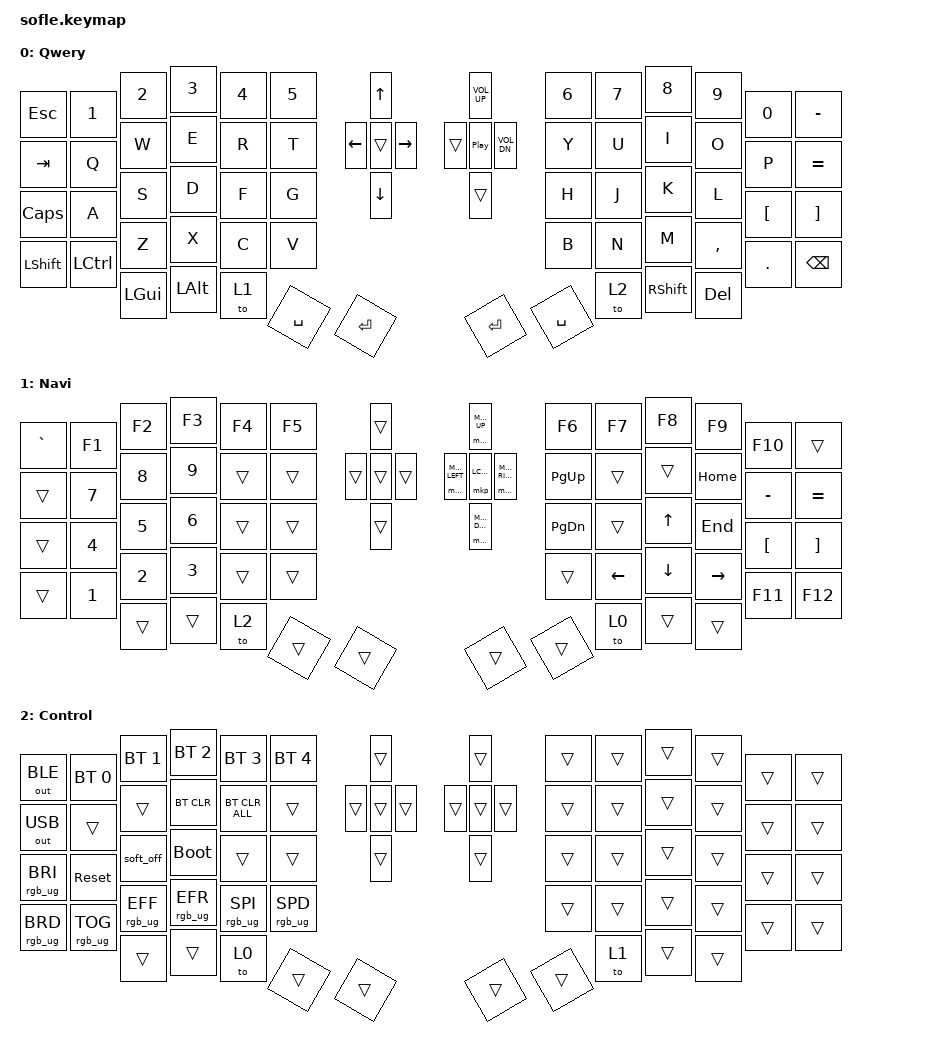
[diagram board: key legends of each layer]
#define ZMK_POINTING_DEFAULT_MOVE_VAL 1200  // 600
#define ZMK_POINTING_DEFAULT_SCRL_VAL 25   // 10

#include <input/processors.dtsi>
#include <zephyr/dt-bindings/input/input-event-codes.h>
#include <behaviors.dtsi>
#include <dt-bindings/zmk/bt.h>
#include <dt-bindings/zmk/ext_power.h>
#include <dt-bindings/zmk/keys.h>
#include <dt-bindings/zmk/pointing.h>
#include <dt-bindings/zmk/outputs.h>
#include <dt-bindings/zmk/rgb.h>

&mmv_input_listener { input-processors = <&zip_xy_scaler 2 1>; };

&msc_input_listener { input-processors = <&zip_scroll_scaler 2 1>; };

&msc {
    acceleration-exponent = <1>;      // 0
    time-to-max-speed-ms = <100>;       // 300
    delay-ms = <0>;                   // 0
};

&mmv {
    time-to-max-speed-ms = <500>;
    acceleration-exponent = <1>;
    trigger-period-ms = <16>;
};

/ {

    keymap {
        compatible = "zmk,keymap";

        Qwery {
            bindings = <
&kp ESCAPE          &kp N1              &kp N2              &kp N3          &kp N4      &kp N5                                  &kp NUMBER_6        &kp NUMBER_7    &kp NUMBER_8  &kp NUMBER_9      &kp NUMBER_0    &kp MINUS
&kp TAB             &kp Q               &kp W               &kp E           &kp R       &kp T                                   &kp Y               &kp U           &kp I         &kp O             &kp P           &kp EQUAL
&kp CAPSLOCK        &kp A               &kp S               &kp D           &kp F       &kp G                                   &kp H               &kp J           &kp K         &kp L             &kp LBKT        &kp RBKT
&kp LSHFT           &kp LCTRL           &kp Z               &kp X           &kp C       &kp V       &trans &kp C_PLAY_PAUSE     &kp B               &kp N           &kp M         &kp COMMA         &kp PERIOD      &kp BACKSPACE
                    &kp LEFT_GUI        &kp LEFT_ALT        &to 1           &kp SPACE   &kp ENTER                               &kp ENTER           &kp SPACE       &to 2         &kp RSHIFT        &kp DELETE
                    &kp UP_ARROW        &kp LEFT_ARROW      &kp RIGHT_ARROW &kp DOWN_ARROW                                      &kp C_VOL_UP        &trans          &kp C_VOL_DN      &trans
            >;

            display-name = "Qwery";
        };

        Navi {
            bindings = <
&kp GRAVE           &kp F1              &kp F2              &kp F3          &kp F4      &kp F5                  &kp F6              &kp F7          &kp F8         &kp F9           &kp F10             &trans
&trans              &kp N7              &kp N8              &kp N9          &trans      &trans                  &kp PG_UP           &trans          &trans         &kp HOME         &kp MINUS           &kp EQUAL
&trans              &kp N4              &kp N5              &kp N6          &trans      &trans                  &kp PG_DN           &trans          &kp UP         &kp END          &kp LEFT_BRACKET    &kp RIGHT_BRACKET
&trans              &kp N1              &kp N2              &kp N3          &trans      &trans &trans &mkp LCLK &trans              &kp LEFT        &kp DOWN       &kp RIGHT        &kp F11             &kp F12
                    &trans              &trans              &to 2           &trans      &trans                  &trans              &trans          &to 0          &trans           &trans
                    &trans              &trans              &trans          &trans                              &mmv MOVE_UP        &mmv MOVE_LEFT  &mmv MOVE_RIGHT  &mmv MOVE_DOWN
            >;

            display-name = "Navi";
        };

        Control {
            bindings = <
&out OUT_BLE             &bt BT_SEL 0        &bt BT_SEL 1       &bt BT_SEL 2    &bt BT_SEL 3    &bt BT_SEL 4    &trans                  &trans           &trans         &trans         &trans              &trans 
&out OUT_USB             &trans              &trans             &bt BT_CLR      &bt BT_CLR_ALL  &trans          &trans                  &trans           &trans         &trans         &trans              &trans
&rgb_ug RGB_BRI          &sys_reset          &soft_off          &bootloader     &trans          &trans          &trans                  &trans           &trans         &trans         &trans              &trans
&rgb_ug RGB_BRD   &rgb_ug RGB_TOG    &rgb_ug RGB_EFF  &rgb_ug RGB_EFR &rgb_ug RGB_SPI       &rgb_ug RGB_SPD     &trans  &trans &trans   &trans           &trans         &trans         &trans             &trans
                    &trans              &trans              &to 0           &trans      &trans                  &trans                  &trans           &to 1          &trans         &trans
                    &trans              &trans              &trans          &trans                                                      &trans           &trans         &trans         &trans
            >;

            display-name = "Control";
        };
    };
};
